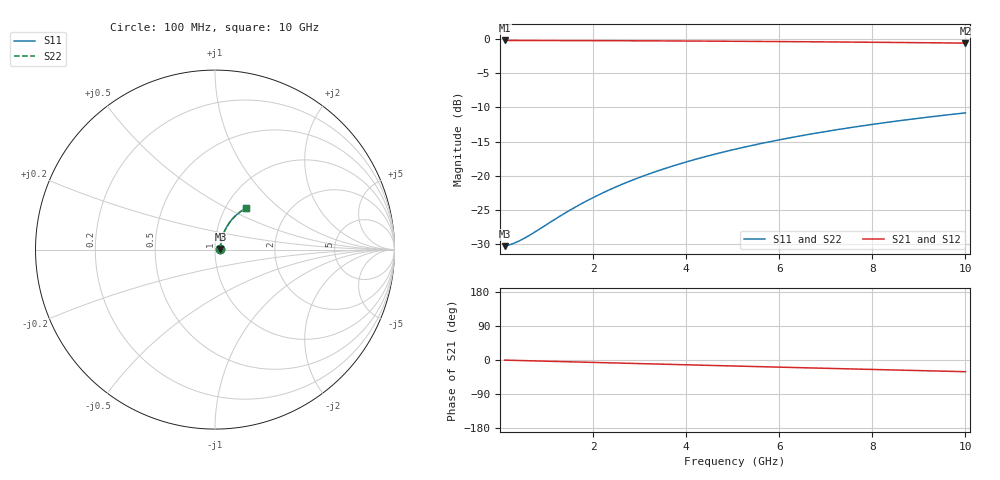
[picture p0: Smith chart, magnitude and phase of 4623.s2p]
# Hz S RI R 50.00
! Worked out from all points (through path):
!   100 points, 100 MHz to 10 GHz, reference 50 ohm
!   highest |S21| = -0.27 dB at 100 MHz (marker M1); lowest = -0.7 dB at 10 GHz (marker M2)
!   group delay of S21, straight-line fit = 8.59 ps
!   lowest |S11| = -30.2 dB at 100 MHz (marker M3), VSWR 1.06, Z = 53.2 + j0.312 ohm
!   |S11| at or under -10 dB: start of sweep to end of sweep
!   |S22| runs from -30.2 to -10.8 dB; largest |S21 - S12| = 0
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1e8  0.0306 0.00293  0.9694 -0.00538  0.9694 -0.00538  0.0306 0.00293
2e8  0.0308 0.00585  0.9691 -0.0108  0.9691 -0.0108  0.0308 0.00585
3e8  0.0311 0.00877  0.9689 -0.0161  0.9689 -0.0161  0.0311 0.00877
4e8  0.0313 0.0117  0.9686 -0.0215  0.9686 -0.0215  0.0313 0.0117
5e8  0.0315 0.0146  0.9684 -0.0269  0.9684 -0.0269  0.0315 0.0146
7e8  0.0321 0.0204  0.9677 -0.0376  0.9677 -0.0376  0.0321 0.0204
1.4e9  0.0349 0.0407  0.9645 -0.075  0.9645 -0.075  0.0349 0.0407
1.8e9  0.0371 0.0521  0.9618 -0.0962  0.9618 -0.0962  0.0371 0.0521
2.2e9  0.0398 0.0634  0.9586 -0.1173  0.9586 -0.1173  0.0398 0.0634
2.6e9  0.043 0.0746  0.9548 -0.1383  0.9548 -0.1383  0.043 0.0746
3e9  0.0467 0.0856  0.9505 -0.1591  0.9505 -0.1591  0.0467 0.0856
3.4e9  0.0509 0.0963  0.9455 -0.1797  0.9455 -0.1797  0.0509 0.0963
3.8e9  0.0554 0.1069  0.9401 -0.2001  0.9401 -0.2001  0.0554 0.1069
4.2e9  0.0605 0.1173  0.934 -0.2202  0.934 -0.2202  0.0605 0.1173
4.6e9  0.066 0.1273  0.9275 -0.2401  0.9275 -0.2401  0.066 0.1273
5.1e9  0.0734 0.1395  0.9186 -0.2646  0.9186 -0.2646  0.0734 0.1395
5.9e9  0.0865 0.158  0.9027 -0.3028  0.9027 -0.3028  0.0865 0.158
6.7e9  0.101 0.1752  0.885 -0.3396  0.885 -0.3396  0.101 0.1752
7.5e9  0.1169 0.1909  0.8656 -0.3751  0.8656 -0.3751  0.1169 0.1909
8.4e9  0.136 0.2067  0.842 -0.4131  0.842 -0.4131  0.136 0.2067
9.2e9  0.154 0.2191  0.8195 -0.4452  0.8195 -0.4452  0.154 0.2191
1e10  0.1728 0.2298  0.7959 -0.4757  0.7959 -0.4757  0.1728 0.2298
